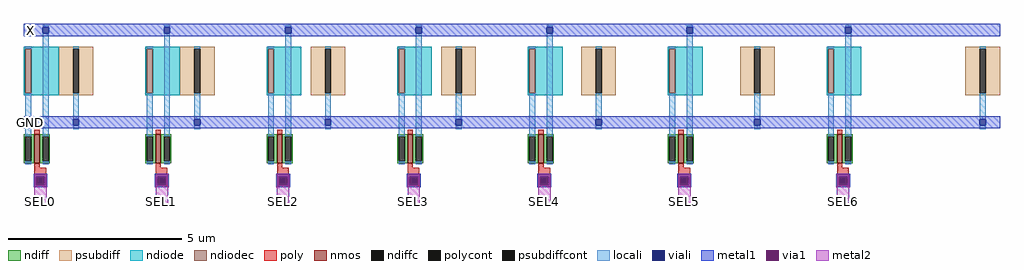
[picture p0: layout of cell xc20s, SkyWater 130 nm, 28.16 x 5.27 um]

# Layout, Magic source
magic
tech sky130A
magscale 1 2
<< nmos >>
rect 60 -392 90 -224
rect 760 -392 790 -224
rect 1460 -392 1490 -224
rect 2214 -392 2244 -224
rect 2968 -392 2998 -224
rect 3776 -392 3806 -224
rect 4692 -392 4722 -224
<< ndiff >>
rect 0 -236 60 -224
rect 0 -380 8 -236
rect 42 -380 60 -236
rect 0 -392 60 -380
rect 90 -236 150 -224
rect 90 -380 108 -236
rect 142 -380 150 -236
rect 90 -392 150 -380
rect 700 -236 760 -224
rect 700 -380 708 -236
rect 742 -380 760 -236
rect 700 -392 760 -380
rect 790 -236 850 -224
rect 790 -380 808 -236
rect 842 -380 850 -236
rect 790 -392 850 -380
rect 1400 -236 1460 -224
rect 1400 -380 1408 -236
rect 1442 -380 1460 -236
rect 1400 -392 1460 -380
rect 1490 -236 1550 -224
rect 1490 -380 1508 -236
rect 1542 -380 1550 -236
rect 1490 -392 1550 -380
rect 2154 -236 2214 -224
rect 2154 -380 2162 -236
rect 2196 -380 2214 -236
rect 2154 -392 2214 -380
rect 2244 -236 2304 -224
rect 2244 -380 2262 -236
rect 2296 -380 2304 -236
rect 2244 -392 2304 -380
rect 2908 -236 2968 -224
rect 2908 -380 2916 -236
rect 2950 -380 2968 -236
rect 2908 -392 2968 -380
rect 2998 -236 3058 -224
rect 2998 -380 3016 -236
rect 3050 -380 3058 -236
rect 2998 -392 3058 -380
rect 3716 -236 3776 -224
rect 3716 -380 3724 -236
rect 3758 -380 3776 -236
rect 3716 -392 3776 -380
rect 3806 -236 3866 -224
rect 3806 -380 3824 -236
rect 3858 -380 3866 -236
rect 3806 -392 3866 -380
rect 4632 -236 4692 -224
rect 4632 -380 4640 -236
rect 4674 -380 4692 -236
rect 4632 -392 4692 -380
rect 4722 -236 4782 -224
rect 4722 -380 4740 -236
rect 4774 -380 4782 -236
rect 4722 -392 4782 -380
<< ndiffc >>
rect 8 -380 42 -236
rect 108 -380 142 -236
rect 708 -380 742 -236
rect 808 -380 842 -236
rect 1408 -380 1442 -236
rect 1508 -380 1542 -236
rect 2162 -380 2196 -236
rect 2262 -380 2296 -236
rect 2916 -380 2950 -236
rect 3016 -380 3050 -236
rect 3724 -380 3758 -236
rect 3824 -380 3858 -236
rect 4640 -380 4674 -236
rect 4740 -380 4774 -236
<< psubdiff >>
rect 200 268 400 280
rect 200 12 283 268
rect 317 12 400 268
rect 200 0 400 12
rect 900 268 1100 280
rect 900 12 983 268
rect 1017 12 1100 268
rect 900 0 1100 12
rect 1654 268 1854 280
rect 1654 12 1737 268
rect 1771 12 1854 268
rect 1654 0 1854 12
rect 2408 268 2608 280
rect 2408 12 2491 268
rect 2525 12 2608 268
rect 2408 0 2608 12
rect 3216 268 3416 280
rect 3216 12 3299 268
rect 3333 12 3416 268
rect 3216 0 3416 12
rect 4132 268 4332 280
rect 4132 12 4215 268
rect 4249 12 4332 268
rect 4132 0 4332 12
rect 5432 268 5632 280
rect 5432 12 5515 268
rect 5549 12 5632 268
rect 5432 0 5632 12
<< psubdiffcont >>
rect 283 12 317 268
rect 983 12 1017 268
rect 1737 12 1771 268
rect 2491 12 2525 268
rect 3299 12 3333 268
rect 4215 12 4249 268
rect 5515 12 5549 268
<< poly >>
rect 60 -224 90 -198
rect 760 -224 790 -198
rect 1460 -224 1490 -198
rect 2214 -224 2244 -198
rect 2968 -224 2998 -198
rect 3776 -224 3806 -198
rect 4692 -224 4722 -198
rect 60 -418 90 -392
rect 760 -418 790 -392
rect 1460 -418 1490 -392
rect 2214 -418 2244 -392
rect 2968 -418 2998 -392
rect 3776 -418 3806 -392
rect 4692 -418 4722 -392
rect 60 -474 128 -418
rect 60 -508 78 -474
rect 112 -508 128 -474
rect 60 -524 128 -508
rect 760 -474 828 -418
rect 760 -508 778 -474
rect 812 -508 828 -474
rect 760 -524 828 -508
rect 1460 -474 1528 -418
rect 1460 -508 1478 -474
rect 1512 -508 1528 -474
rect 1460 -524 1528 -508
rect 2214 -474 2282 -418
rect 2214 -508 2232 -474
rect 2266 -508 2282 -474
rect 2214 -524 2282 -508
rect 2968 -474 3036 -418
rect 2968 -508 2986 -474
rect 3020 -508 3036 -474
rect 2968 -524 3036 -508
rect 3776 -474 3844 -418
rect 3776 -508 3794 -474
rect 3828 -508 3844 -474
rect 3776 -524 3844 -508
rect 4692 -474 4760 -418
rect 4692 -508 4710 -474
rect 4744 -508 4760 -474
rect 4692 -524 4760 -508
<< polycont >>
rect 78 -508 112 -474
rect 778 -508 812 -474
rect 1478 -508 1512 -474
rect 2232 -508 2266 -474
rect 2986 -508 3020 -474
rect 3794 -508 3828 -474
rect 4710 -508 4744 -474
<< ndiode >>
rect 0 268 200 280
rect 0 12 8 268
rect 42 12 200 268
rect 0 0 200 12
rect 700 268 900 280
rect 700 12 708 268
rect 742 12 900 268
rect 700 0 900 12
rect 1400 268 1600 280
rect 1400 12 1408 268
rect 1442 12 1600 268
rect 1400 0 1600 12
rect 2154 268 2354 280
rect 2154 12 2162 268
rect 2196 12 2354 268
rect 2154 0 2354 12
rect 2908 268 3108 280
rect 2908 12 2916 268
rect 2950 12 3108 268
rect 2908 0 3108 12
rect 3716 268 3916 280
rect 3716 12 3724 268
rect 3758 12 3916 268
rect 3716 0 3916 12
rect 4632 268 4832 280
rect 4632 12 4640 268
rect 4674 12 4832 268
rect 4632 0 4832 12
<< ndiodec >>
rect 8 12 42 268
rect 708 12 742 268
rect 1408 12 1442 268
rect 2162 12 2196 268
rect 2916 12 2950 268
rect 3724 12 3758 268
rect 4640 12 4674 268
<< locali >>
rect 108 394 142 406
rect 8 268 42 284
rect 8 -236 42 12
rect 8 -396 42 -380
rect 108 -236 142 360
rect 808 394 842 406
rect 283 268 317 284
rect 283 -138 317 12
rect 283 -194 317 -172
rect 708 268 742 284
rect 108 -396 142 -380
rect 708 -236 742 12
rect 708 -396 742 -380
rect 808 -236 842 360
rect 1508 394 1542 406
rect 983 268 1017 284
rect 983 -138 1017 12
rect 983 -194 1017 -172
rect 1408 268 1442 284
rect 808 -396 842 -380
rect 1408 -236 1442 12
rect 1408 -396 1442 -380
rect 1508 -236 1542 360
rect 2262 394 2296 406
rect 1737 268 1771 284
rect 1737 -138 1771 12
rect 1737 -194 1771 -172
rect 2162 268 2196 284
rect 1508 -396 1542 -380
rect 2162 -236 2196 12
rect 2162 -396 2196 -380
rect 2262 -236 2296 360
rect 3016 394 3050 406
rect 2491 268 2525 284
rect 2491 -138 2525 12
rect 2491 -194 2525 -172
rect 2916 268 2950 284
rect 2262 -396 2296 -380
rect 2916 -236 2950 12
rect 2916 -396 2950 -380
rect 3016 -236 3050 360
rect 3824 394 3858 406
rect 3299 268 3333 284
rect 3299 -138 3333 12
rect 3299 -194 3333 -172
rect 3724 268 3758 284
rect 3016 -396 3050 -380
rect 3724 -236 3758 12
rect 3724 -396 3758 -380
rect 3824 -236 3858 360
rect 4740 394 4774 406
rect 4215 268 4249 284
rect 4215 -138 4249 12
rect 4215 -194 4249 -172
rect 4640 268 4674 284
rect 3824 -396 3858 -380
rect 4640 -236 4674 12
rect 4640 -396 4674 -380
rect 4740 -236 4774 360
rect 5515 268 5549 284
rect 5515 -138 5549 12
rect 5515 -194 5549 -172
rect 4740 -396 4774 -380
rect 78 -474 112 -458
rect 78 -524 112 -508
rect 778 -474 812 -458
rect 778 -524 812 -508
rect 1478 -474 1512 -458
rect 1478 -524 1512 -508
rect 2232 -474 2266 -458
rect 2232 -524 2266 -508
rect 2986 -474 3020 -458
rect 2986 -524 3020 -508
rect 3794 -474 3828 -458
rect 3794 -524 3828 -508
rect 4710 -474 4744 -458
rect 4710 -524 4744 -508
<< viali >>
rect 108 360 142 394
rect 808 360 842 394
rect 283 -172 317 -138
rect 1508 360 1542 394
rect 983 -172 1017 -138
rect 2262 360 2296 394
rect 1737 -172 1771 -138
rect 3016 360 3050 394
rect 2491 -172 2525 -138
rect 3824 360 3858 394
rect 3299 -172 3333 -138
rect 4740 360 4774 394
rect 4215 -172 4249 -138
rect 5515 -172 5549 -138
rect 78 -508 112 -474
rect 778 -508 812 -474
rect 1478 -508 1512 -474
rect 2232 -508 2266 -474
rect 2986 -508 3020 -474
rect 3794 -508 3828 -474
rect 4710 -508 4744 -474
<< metal1 >>
rect 0 394 5632 414
rect 0 360 108 394
rect 142 360 808 394
rect 842 360 1508 394
rect 1542 360 2262 394
rect 2296 360 3016 394
rect 3050 360 3824 394
rect 3858 360 4740 394
rect 4774 360 5632 394
rect 0 340 5632 360
rect 0 -138 5632 -120
rect 0 -172 283 -138
rect 317 -172 983 -138
rect 1017 -172 1737 -138
rect 1771 -172 2491 -138
rect 2525 -172 3299 -138
rect 3333 -172 4215 -138
rect 4249 -172 5515 -138
rect 5549 -172 5632 -138
rect 0 -190 5632 -172
rect 55 -465 135 -451
rect 55 -517 69 -465
rect 121 -517 135 -465
rect 55 -531 135 -517
rect 755 -465 835 -451
rect 755 -517 769 -465
rect 821 -517 835 -465
rect 755 -531 835 -517
rect 1455 -465 1535 -451
rect 1455 -517 1469 -465
rect 1521 -517 1535 -465
rect 1455 -531 1535 -517
rect 2209 -465 2289 -451
rect 2209 -517 2223 -465
rect 2275 -517 2289 -465
rect 2209 -531 2289 -517
rect 2963 -465 3043 -451
rect 2963 -517 2977 -465
rect 3029 -517 3043 -465
rect 2963 -531 3043 -517
rect 3771 -465 3851 -451
rect 3771 -517 3785 -465
rect 3837 -517 3851 -465
rect 3771 -531 3851 -517
rect 4687 -465 4767 -451
rect 4687 -517 4701 -465
rect 4753 -517 4767 -465
rect 4687 -531 4767 -517
<< via1 >>
rect 69 -474 121 -465
rect 69 -508 78 -474
rect 78 -508 112 -474
rect 112 -508 121 -474
rect 69 -517 121 -508
rect 769 -474 821 -465
rect 769 -508 778 -474
rect 778 -508 812 -474
rect 812 -508 821 -474
rect 769 -517 821 -508
rect 1469 -474 1521 -465
rect 1469 -508 1478 -474
rect 1478 -508 1512 -474
rect 1512 -508 1521 -474
rect 1469 -517 1521 -508
rect 2223 -474 2275 -465
rect 2223 -508 2232 -474
rect 2232 -508 2266 -474
rect 2266 -508 2275 -474
rect 2223 -517 2275 -508
rect 2977 -474 3029 -465
rect 2977 -508 2986 -474
rect 2986 -508 3020 -474
rect 3020 -508 3029 -474
rect 2977 -517 3029 -508
rect 3785 -474 3837 -465
rect 3785 -508 3794 -474
rect 3794 -508 3828 -474
rect 3828 -508 3837 -474
rect 3785 -517 3837 -508
rect 4701 -474 4753 -465
rect 4701 -508 4710 -474
rect 4710 -508 4744 -474
rect 4744 -508 4753 -474
rect 4701 -517 4753 -508
<< metal2 >>
rect 59 -465 131 -455
rect 59 -517 69 -465
rect 121 -517 131 -465
rect 59 -640 131 -517
rect 759 -465 831 -455
rect 759 -517 769 -465
rect 821 -517 831 -465
rect 759 -640 831 -517
rect 1459 -465 1531 -455
rect 1459 -517 1469 -465
rect 1521 -517 1531 -465
rect 1459 -640 1531 -517
rect 2213 -465 2285 -455
rect 2213 -517 2223 -465
rect 2275 -517 2285 -465
rect 2213 -640 2285 -517
rect 2967 -465 3039 -455
rect 2967 -517 2977 -465
rect 3029 -517 3039 -465
rect 2967 -640 3039 -517
rect 3775 -465 3847 -455
rect 3775 -517 3785 -465
rect 3837 -517 3847 -465
rect 3775 -640 3847 -517
rect 4691 -465 4763 -455
rect 4691 -517 4701 -465
rect 4753 -517 4763 -465
rect 4691 -640 4763 -517
<< labels >>
flabel metal2 59 -640 131 -580 0 FreeSans 320 0 0 0 SEL0
port 1 nsew
flabel metal2 759 -640 831 -580 0 FreeSans 320 0 0 0 SEL1
port 2 nsew
flabel metal2 1459 -640 1531 -580 0 FreeSans 320 0 0 0 SEL2
port 3 nsew
flabel metal2 2213 -640 2285 -580 0 FreeSans 320 0 0 0 SEL3
port 4 nsew
flabel metal2 2967 -640 3039 -580 0 FreeSans 320 0 0 0 SEL4
port 5 nsew
flabel metal2 3775 -640 3847 -580 0 FreeSans 320 0 0 0 SEL5
port 6 nsew
flabel metal2 4691 -640 4763 -580 0 FreeSans 320 0 0 0 SEL6
port 7 nsew
flabel metal1 0 340 80 414 0 FreeSans 320 0 0 0 X
port 8 nsew
flabel metal1 0 -190 80 -120 0 FreeSans 320 0 0 0 GND
port 9 nsew
<< end >>
